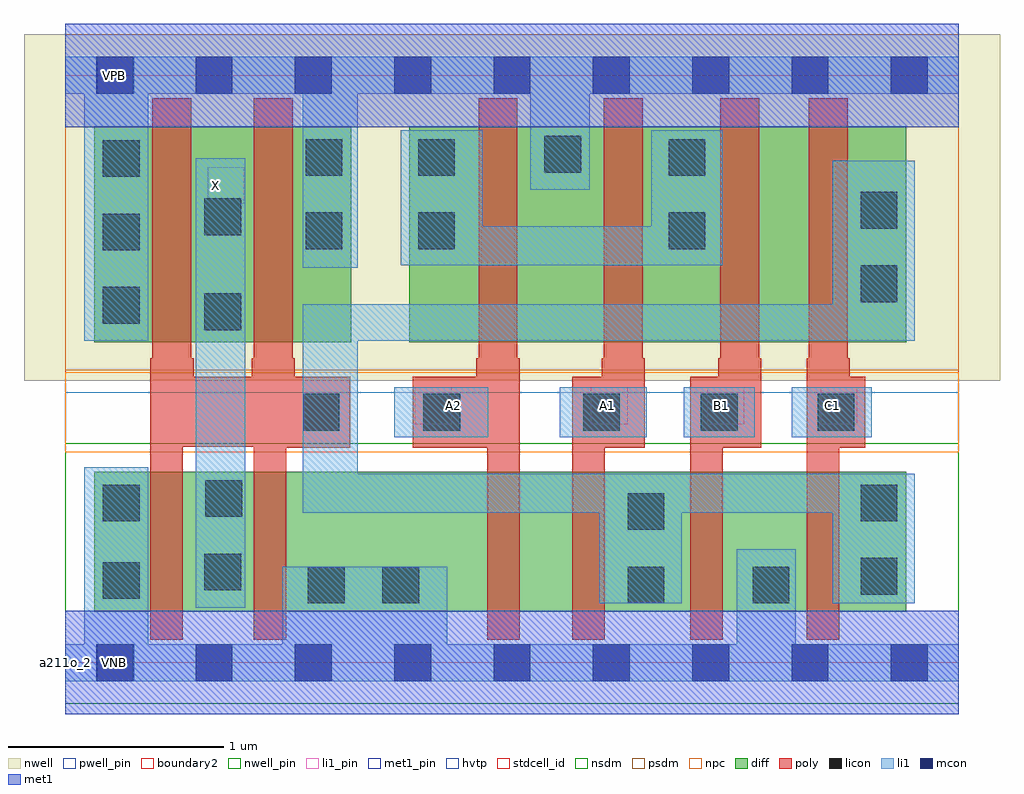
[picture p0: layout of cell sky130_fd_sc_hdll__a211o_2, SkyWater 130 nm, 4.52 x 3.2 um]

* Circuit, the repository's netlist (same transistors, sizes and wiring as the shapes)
* Copyright 2020 The SkyWater PDK Authors
*
* Licensed under the Apache License, Version 2.0 (the "License");
* you may not use this file except in compliance with the License.
* You may obtain a copy of the License at
*
*     https://www.apache.org/licenses/LICENSE-2.0
*
* Unless required by applicable law or agreed to in writing, software
* distributed under the License is distributed on an "AS IS" BASIS,
* WITHOUT WARRANTIES OR CONDITIONS OF ANY KIND, either express or implied.
* See the License for the specific language governing permissions and
* limitations under the License.
*
* SPDX-License-Identifier: Apache-2.0

.SUBCKT sky130_fd_sc_hdll__a211o_2 A1 A2 B1 C1 VGND VNB VPB VPWR X
*.PININFO A1:I A2:I B1:I C1:I VGND:I VNB:I VPB:I VPWR:I X:O
MMPA0 pndA A1 VPWR VPB sky130_fd_pr__pfet_01v8_hvt m=1 w=1.0U l=0.18U mult=1 sa=0.265
+ sb=0.265 sd=0.28 area=0.063 perim=1.14
MMPA1 pndA A2 VPWR VPB sky130_fd_pr__pfet_01v8_hvt m=1 w=1.0U l=0.18U mult=1 sa=0.265
+ sb=0.265 sd=0.28 area=0.063 perim=1.14
MMPB0 pndB B1 pndA VPB sky130_fd_pr__pfet_01v8_hvt m=1 w=1.0U l=0.18U mult=1 sa=0.265
+ sb=0.265 sd=0.28 area=0.063 perim=1.14
MMPC0 y C1 pndB VPB sky130_fd_pr__pfet_01v8_hvt m=1 w=1.0U l=0.18U mult=1 sa=0.265
+ sb=0.265 sd=0.28 area=0.063 perim=1.14
MMIPX X y VPWR VPB sky130_fd_pr__pfet_01v8_hvt m=2 w=1.0U l=0.18U mult=1 sa=0.265
+ sb=0.265 sd=0.28 area=0.063 perim=1.14
MMNA0 y A1 sndA1 VNB sky130_fd_pr__nfet_01v8 m=1 w=0.65U l=0.15U mult=1 sa=0.265
+ sb=0.265 sd=0.28 area=0.063 perim=1.14
MMNA1 sndA1 A2 VGND VNB sky130_fd_pr__nfet_01v8 m=1 w=0.65U l=0.15U mult=1 sa=0.265
+ sb=0.265 sd=0.28 area=0.063 perim=1.14
MMNB0 y B1 VGND VNB sky130_fd_pr__nfet_01v8 m=1 w=0.65U l=0.15U mult=1 sa=0.265
+ sb=0.265 sd=0.28 area=0.063 perim=1.14
MMNC0 y C1 VGND VNB sky130_fd_pr__nfet_01v8 m=1 w=0.65U l=0.15U mult=1 sa=0.265
+ sb=0.265 sd=0.28 area=0.063 perim=1.14
MMINX X y VGND VNB sky130_fd_pr__nfet_01v8 m=2 w=0.65U l=0.15U mult=1 sa=0.265
+ sb=0.265 sd=0.28 area=0.063 perim=1.14
.ENDS sky130_fd_sc_hdll__a211o_2

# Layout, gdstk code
import gdstk
lib = gdstk.Library(unit=1e-6, precision=1e-09)
def R(c, l, rs):  # rectangles x0, y0, x1, y1
    for r in rs: c.add(gdstk.rectangle(r[:2], r[2:], *l))
def A(c, l, x, y, w, h, nx, ny, dx, dy):  # array of equal rectangles
    R(c, l, [(x+i*dx, y+j*dy, x+i*dx+w, y+j*dy+h) for i in range(nx) for j in range(ny)])
def P(c, l, *ps):  # polygons
    for p in ps: c.add(gdstk.Polygon(p, *l))
nwell_pin = (64, 16)
nwell = (64, 20)
diff = (65, 20)
poly = (66, 20)
licon = (66, 44)
li1_pin = (67, 16)
li1 = (67, 20)
mcon = (67, 44)
met1_pin = (68, 16)
met1 = (68, 20)
hvtp = (78, 44)
stdcell_id = (81, 4)
nsdm = (93, 44)
psdm = (94, 20)
npc = (95, 20)
pwell_pin = (122, 16)
boundary2 = (236, 0)

sky130_fd_sc_hdll__a211o = lib.new_cell('sky130_fd_sc_hdll__a211o_2')
R(sky130_fd_sc_hdll__a211o, nwell_pin, [(0.15,2.635,0.32,2.805)])
R(sky130_fd_sc_hdll__a211o, nwell, [(-0.19,1.305,4.33,2.91)])
R(sky130_fd_sc_hdll__a211o, diff, [(0.135,0.235,3.895,0.885), (0.135,1.485,1.325,2.485), (1.595,1.485,3.895,2.485)])
P(sky130_fd_sc_hdll__a211o, poly, [(1.32,1.325),(1.065,1.325),(1.065,1.41),(1.055,1.41),(1.055,2.615),(0.875,2.615),(0.875,1.41),(0.865,1.41),(0.865,1.325),(0.595,1.325),(0.595,1.41),(0.585,1.41),(0.585,2.615),(0.405,2.615),(0.405,1.41),(0.395,1.41),(0.395,0.105),(0.545,0.105),(0.545,1),(0.875,1),(0.875,0.105),(1.025,0.105),(1.025,0.995),(1.32,0.995)],
  [(2.105,1.41),(2.095,1.41),(2.095,2.615),(1.915,2.615),(1.915,1.41),(1.905,1.41),(1.905,1.325),(1.61,1.325),(1.61,0.995),(1.955,0.995),(1.955,0.105),(2.105,0.105)],
  [(2.685,1.41),(2.675,1.41),(2.675,2.615),(2.495,2.615),(2.495,1.41),(2.485,1.41),(2.485,1.325),(2.35,1.325),(2.35,0.105),(2.5,0.105),(2.5,0.995),(2.685,0.995)],
  [(3.225,1.41),(3.215,1.41),(3.215,2.615),(3.035,2.615),(3.035,1.41),(3.025,1.41),(3.025,1.325),(2.895,1.325),(2.895,0.105),(3.045,0.105),(3.045,0.995),(3.225,0.995)],
  [(3.705,1.325),(3.635,1.325),(3.635,1.41),(3.625,1.41),(3.625,2.615),(3.445,2.615),(3.445,1.41),(3.435,1.41),(3.435,0.105),(3.585,0.105),(3.585,0.995),(3.705,0.995)])
A(sky130_fd_sc_hdll__a211o, licon, 0.175, 1.57, 0.17, 0.17, 1, 3, 0, 0.34)
R(sky130_fd_sc_hdll__a211o, licon, [(1.125,0.275,1.295,0.445), (1.47,0.275,1.64,0.445), (2.605,0.275,2.775,0.445), (3.185,0.275,3.355,0.445), (0.175,0.295,0.345,0.465), (3.685,0.315,3.855,0.485), (0.645,0.335,0.815,0.505), (2.605,0.615,2.775,0.785), (0.175,0.655,0.345,0.825), (3.685,0.655,3.855,0.825), (0.65,0.675,0.82,0.845), (1.1,1.075,1.27,1.245), (1.66,1.075,1.83,1.245), (2.4,1.075,2.57,1.245), (2.945,1.075,3.115,1.245), (3.485,1.075,3.655,1.245), (0.645,1.54,0.815,1.71), (3.685,1.67,3.855,1.84), (1.115,1.915,1.285,2.085), (1.635,1.915,1.805,2.085), (2.795,1.915,2.965,2.085), (0.645,1.98,0.815,2.15), (3.685,2.01,3.855,2.18), (1.115,2.255,1.285,2.425), (1.635,2.255,1.805,2.425), (2.795,2.255,2.965,2.425), (2.22,2.27,2.39,2.44)])
R(sky130_fd_sc_hdll__a211o, li1_pin, [(1.62,1.105,1.79,1.275), (2.435,1.105,2.605,1.275), (2.975,1.105,3.145,1.275), (3.5,1.105,3.67,1.275), (0.66,2.125,0.83,2.295)])
R(sky130_fd_sc_hdll__a211o, li1, [(0.605,0.255,0.835,2.335), (1.525,1.045,1.96,1.275), (2.29,1.045,2.695,1.275), (2.865,1.045,3.195,1.275), (3.365,1.045,3.735,1.275)])
P(sky130_fd_sc_hdll__a211o, li1, [(4.14,0.085),(3.385,0.085),(3.385,0.525),(3.11,0.525),(3.11,0.085),(1.77,0.085),(1.77,0.445),(1.005,0.445),(1.005,0.085),(0.385,0.085),(0.385,0.905),(0.09,0.905),(0.09,0.085),(0,0.085),(0,-0.085),(4.14,-0.085)],
  [(4.14,2.805),(0,2.805),(0,2.635),(0.09,2.635),(0.09,1.49),(0.385,1.49),(0.385,2.635),(1.1,2.635),(1.1,1.83),(1.355,1.83),(1.355,2.635),(2.155,2.635),(2.155,2.19),(2.43,2.19),(2.43,2.635),(4.14,2.635)],
  [(3.935,0.875),(1.355,0.875),(1.355,1.49),(3.935,1.49),(3.935,2.325),(3.555,2.325),(3.555,1.66),(1.1,1.66),(1.1,0.695),(2.475,0.695),(2.475,0.275),(2.855,0.275),(2.855,0.695),(3.555,0.695),(3.555,0.275),(3.935,0.275)],
  [(3.045,2.465),(2.715,2.465),(2.715,2.02),(1.935,2.02),(1.935,2.465),(1.555,2.465),(1.555,1.84),(3.045,1.84)])
A(sky130_fd_sc_hdll__a211o, mcon, 0.145, -0.085, 0.17, 0.17, 9, 2, 0.46, 2.72)
R(sky130_fd_sc_hdll__a211o, met1_pin, [(0.15,-0.085,0.32,0.085), (0.15,2.635,0.32,2.805)])
R(sky130_fd_sc_hdll__a211o, met1, [(0,-0.24,4.14,0.24), (0,2.48,4.14,2.96)])
R(sky130_fd_sc_hdll__a211o, hvtp, [(0,1.25,4.14,2.72)])
R(sky130_fd_sc_hdll__a211o, stdcell_id, [(0,0,4.14,2.72)])
R(sky130_fd_sc_hdll__a211o, nsdm, [(0,-0.19,4.14,1.015)])
R(sky130_fd_sc_hdll__a211o, psdm, [(0,1.355,4.14,2.91)])
R(sky130_fd_sc_hdll__a211o, npc, [(0,0.975,4.14,1.345)])
R(sky130_fd_sc_hdll__a211o, pwell_pin, [(0.15,-0.085,0.32,0.085)])
R(sky130_fd_sc_hdll__a211o, boundary2, [(0,0,4.14,2.72)])
sky130_fd_sc_hdll__a211o.add(gdstk.Label('X', (0.695,2.21), layer=67, texttype=5))
sky130_fd_sc_hdll__a211o.add(gdstk.Label('A2', (1.8,1.19), layer=67, texttype=5))
sky130_fd_sc_hdll__a211o.add(gdstk.Label('A1', (2.51,1.19), layer=67, texttype=5))
sky130_fd_sc_hdll__a211o.add(gdstk.Label('B1', (3.04,1.19), layer=67, texttype=5))
sky130_fd_sc_hdll__a211o.add(gdstk.Label('C1', (3.555,1.19), layer=67, texttype=5))
sky130_fd_sc_hdll__a211o.add(gdstk.Label('VNB', (0.23,0), layer=64, texttype=59))
sky130_fd_sc_hdll__a211o.add(gdstk.Label('VPB', (0.23,2.72), layer=64, texttype=5))
sky130_fd_sc_hdll__a211o.add(gdstk.Label('VGND', (0.23,0), layer=68, texttype=5))
sky130_fd_sc_hdll__a211o.add(gdstk.Label('VPWR', (0.23,2.72), layer=68, texttype=5))
sky130_fd_sc_hdll__a211o.add(gdstk.Label('a211o_2', (0,0), layer=83, texttype=44))

lib.write_gds('sky130_fd_sc_hdll__a211o_2.gds')
